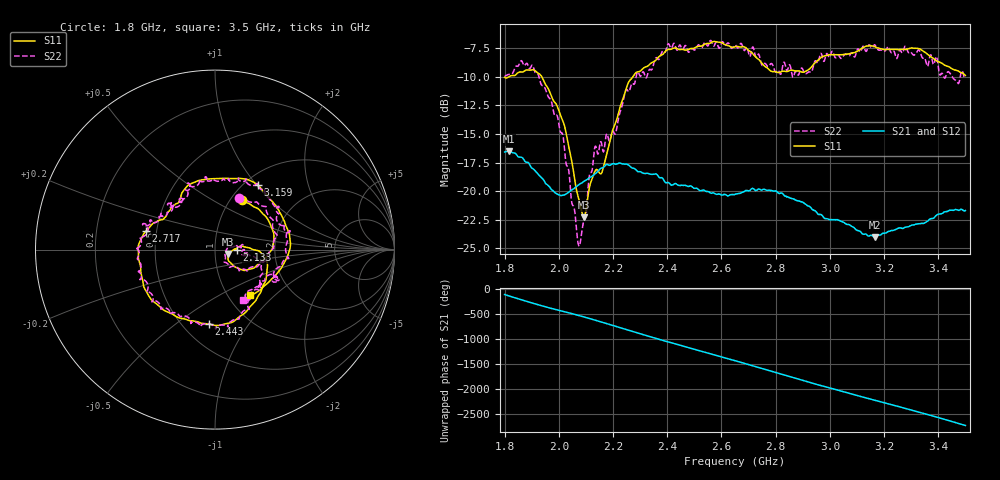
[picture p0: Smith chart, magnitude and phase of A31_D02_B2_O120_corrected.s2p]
! Created with skrf 1.9.0 (http://scikit-rf.org).
# Hz S RI R 50.0
!freq ReS11 ImS11 ReS21 ImS21 ReS12 ImS12 ReS22 ImS22
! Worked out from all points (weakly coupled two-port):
!   1601 points, 1.8 GHz to 3.5 GHz, reference 50 ohm
!   highest |S21| = -16.51 dB at 1.815 GHz (marker M1); lowest = -24.0 dB at 3.165 GHz (marker M2)
!   lowest |S11| = -22.3 dB at 2.092 GHz (marker M3), VSWR 1.17, Z = 57.8 - j2.87 ohm
!   |S11| at or under -10 dB: start of sweep to 1.815 GHz; 1.937 GHz to 2.273 GHz (335.8 MHz wide, 16 % of centre)
!   |S22| runs from -24.8 to -6.8 dB; largest |S21 - S12| = 0.0025
!   S11 on the Smith chart (normalised r, x): 1.8 GHz: 1.12, +0.69; 2.133 GHz: 1.28, -0.01; 2.443 GHz: 0.66, -0.67; 2.717 GHz: 0.44, +0.11; 3.159 GHz: 1.15, +1.01; 3.5 GHz: 1.26, -0.71
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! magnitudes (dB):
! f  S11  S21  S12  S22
! 1.8 GHz  -10.0  -16.6  -16.6  -9.9
! 1.815 GHz  -10.0  -16.5  -16.5  -9.8
! 1.902 GHz  -9.4  -18.0  -18.0  -9.0
! 1.967 GHz  -11.3  -19.7  -19.7  -11.9
! 2.021 GHz  -14.3  -20.3  -20.3  -16.3
! 2.071 GHz  -20.4  -19.5  -19.5  -24.5
! 2.084 GHz  -21.7  -19.3  -19.3  -23.7
! 2.092 GHz  -22.3  -19.1  -19.2  -22.6
! 2.133 GHz  -18.3  -18.5  -18.5  -16.2
! 2.161 GHz  -18.2  -18.0  -17.9  -16.3
! 2.21 GHz  -14.0  -17.7  -17.6  -14.9
! 2.259 GHz  -10.4  -17.7  -17.8  -11.3
! 2.367 GHz  -8.3  -18.7  -18.7  -8.5
! 2.443 GHz  -7.6  -19.5  -19.5  -7.3
! 2.65 GHz  -7.4  -20.3  -20.3  -7.2
! 2.717 GHz  -8.0  -19.8  -19.7  -7.4
! 2.788 GHz  -9.5  -20.0  -20.0  -8.9
! 2.934 GHz  -9.1  -21.6  -21.5  -9.5
! 3.159 GHz  -7.3  -23.9  -23.9  -7.4
! 3.165 GHz  -7.4  -24.0  -24.0  -7.2
! 3.217 GHz  -7.6  -23.5  -23.5  -7.4
! 3.5 GHz  -9.9  -21.7  -21.7  -9.8
